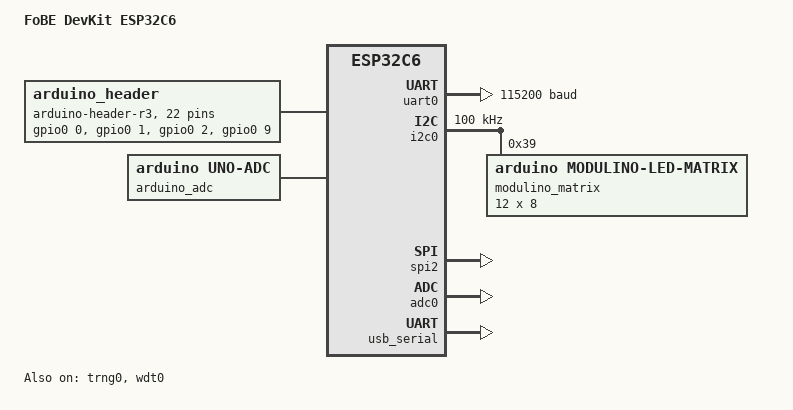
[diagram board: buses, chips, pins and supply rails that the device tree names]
/*
 * Copyright (c) 2026 FoBE Studio
 *
 * SPDX-License-Identifier: Apache-2.0
 */

/dts-v1/;

#include <espressif/esp32c6/esp32c6_common.dtsi>
#include <espressif/partitions_0x0_default.dtsi>
#include <zephyr/dt-bindings/gpio/arduino-header-r3.h>
#include "devkit_esp32c6-pinctrl.dtsi"

/ {
	model = "FoBE DevKit ESP32C6";
	compatible = "fobe,devkit-esp32c6";

	chosen {
		zephyr,sram = &sramhp;
		zephyr,console = &usb_serial;
		zephyr,shell-uart = &usb_serial;
		zephyr,flash = &flash0;
		zephyr,code-partition = &slot0_partition;
		zephyr,display = &modulino_matrix;
	};

	aliases {
		watchdog0 = &wdt0;
	};

	arduino_header: connector {
		compatible = "arduino-header-r3";
		#gpio-cells = <2>;
		gpio-map-mask = <0xffffffff 0xffffffc0>;
		gpio-map-pass-thru = <0 0x3f>;
		/* D14/D15 in this binding denote the dedicated SDA/SCL pins.
		 * The schematic's D14..D19 are the A0..A5 aliases instead.
		 */
		gpio-map = <ARDUINO_HEADER_R3_A0 0 &gpio0 0 0>,
			   <ARDUINO_HEADER_R3_A1 0 &gpio0 1 0>,
			   <ARDUINO_HEADER_R3_A2 0 &gpio0 2 0>,
			   <ARDUINO_HEADER_R3_A3 0 &gpio0 9 0>,
			   <ARDUINO_HEADER_R3_A4 0 &gpio0 22 0>,
			   <ARDUINO_HEADER_R3_A5 0 &gpio0 23 0>,
			   <ARDUINO_HEADER_R3_D0 0 &gpio0 17 0>,
			   <ARDUINO_HEADER_R3_D1 0 &gpio0 16 0>,
			   <ARDUINO_HEADER_R3_D2 0 &gpio0 3 0>,
			   <ARDUINO_HEADER_R3_D3 0 &gpio0 4 0>,
			   <ARDUINO_HEADER_R3_D4 0 &gpio0 5 0>,
			   <ARDUINO_HEADER_R3_D5 0 &gpio0 6 0>,
			   <ARDUINO_HEADER_R3_D6 0 &gpio0 7 0>,
			   <ARDUINO_HEADER_R3_D7 0 &gpio0 8 0>,
			   <ARDUINO_HEADER_R3_D8 0 &gpio0 14 0>,
			   <ARDUINO_HEADER_R3_D9 0 &gpio0 15 0>,
			   <ARDUINO_HEADER_R3_D10 0 &gpio0 21 0>,
			   <ARDUINO_HEADER_R3_D11 0 &gpio0 18 0>,
			   <ARDUINO_HEADER_R3_D12 0 &gpio0 20 0>,
			   <ARDUINO_HEADER_R3_D13 0 &gpio0 19 0>,
			   <ARDUINO_HEADER_R3_D14 0 &gpio0 22 0>,
			   <ARDUINO_HEADER_R3_D15 0 &gpio0 23 0>;
	};

	arduino_adc: analog-connector {
		compatible = "arduino,uno-adc";
		#io-channel-cells = <1>;
		/* A3/BOOT, A4/SDA and A5/SCL have no ADC function. */
		io-channel-map = <0 &adc0 0>, <1 &adc0 1>, <2 &adc0 2>;
	};
};

&flash0 {
	reg = <0x0 DT_SIZE_M(4)>;
	ranges = <0x0 0x0 DT_SIZE_M(4)>;
};

&gpio0 {
	status = "okay";
	/* QFN32 exposes GPIO0..9 and GPIO12..23. */
	ngpios = <24>;
	gpio-reserved-ranges = <10 2>;
};

arduino_serial: &uart0 {
	status = "okay";
	current-speed = <115200>;
	pinctrl-0 = <&uart0_default>;
	pinctrl-names = "default";
};

arduino_i2c: &i2c0 {
	status = "okay";
	clock-frequency = <I2C_BITRATE_STANDARD>;
	pinctrl-0 = <&i2c0_default>;
	pinctrl-names = "default";

	modulino_matrix: display@39 {
		compatible = "arduino,modulino-led-matrix";
		reg = <0x39>;
		width = <12>;
		height = <8>;
		status = "okay";
	};
};

arduino_spi: &spi2 {
	status = "okay";
	#address-cells = <1>;
	#size-cells = <0>;
	pinctrl-0 = <&spi2_default>;
	pinctrl-names = "default";
	cs-gpios = <&gpio0 21 GPIO_ACTIVE_LOW>;
};

&adc0 {
	status = "okay";
};

&trng0 {
	status = "okay";
};

&wdt0 {
	status = "okay";
};

&usb_serial {
	status = "okay";
};
